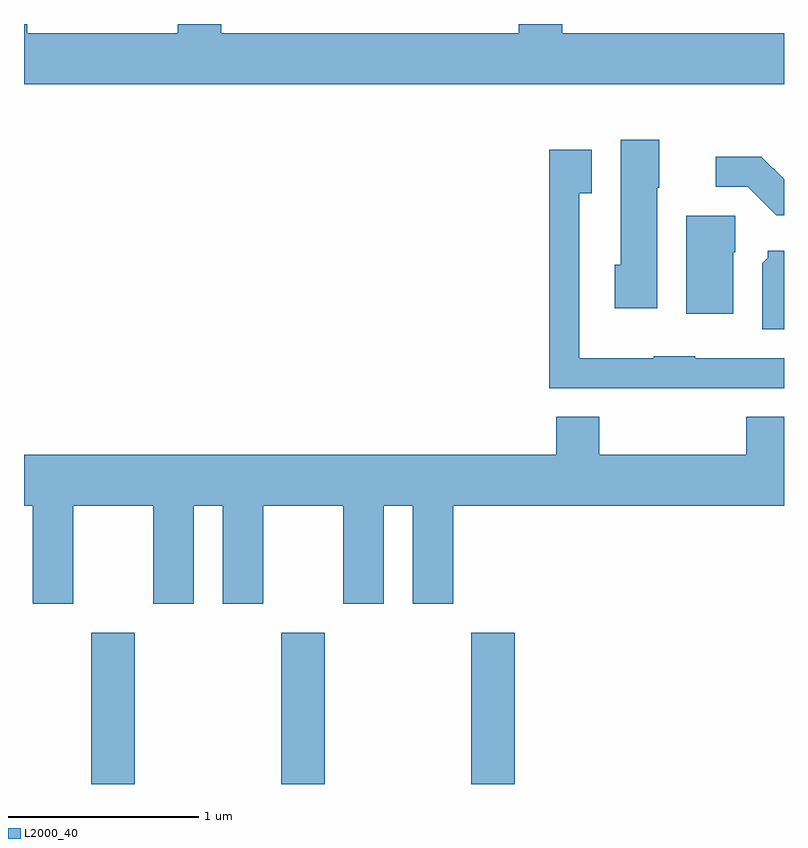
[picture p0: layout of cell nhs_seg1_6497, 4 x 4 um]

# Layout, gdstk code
import gdstk
lib = gdstk.Library(unit=1e-6, precision=1e-09)
def R(c, l, rs):  # rectangles x0, y0, x1, y1
    for r in rs: c.add(gdstk.rectangle(r[:2], r[2:], *l))
def A(c, l, x, y, w, h, nx, ny, dx, dy):  # array of equal rectangles
    R(c, l, [(x+i*dx, y+j*dy, x+i*dx+w, y+j*dy+h) for i in range(nx) for j in range(ny)])
def P(c, l, *ps):  # polygons
    for p in ps: c.add(gdstk.Polygon(p, *l))
L2000_40 = (2000, 40)

nhs_seg1_6497 = lib.new_cell('nhs_seg1_6497')
A(nhs_seg1_6497, L2000_40, 381.966, 853.712, 0.228, 0.797, 3, 1, 1, 0)
P(nhs_seg1_6497, L2000_40, [(385.611,857.664),(384.444,857.664),(384.444,857.712),(384.216,857.712),(384.216,857.664),(382.649,857.664),(382.649,857.712),(382.421,857.712),(382.421,857.664),(381.629,857.664),(381.629,857.712),(381.611,857.712),(381.611,857.396),(385.611,857.396)],
  [(384.944,856.85),(384.954,856.85),(384.954,857.104),(384.751,857.104),(384.751,856.444),(384.721,856.444),(384.721,856.216),(384.944,856.216)],
  [(385.611,855.954),(385.145,855.954),(385.145,855.964),(384.925,855.964),(384.925,855.954),(384.534,855.954),(384.534,856.821),(384.599,856.821),(384.599,857.049),(384.376,857.049),(384.376,855.796),(385.611,855.796)],
  [(385.611,856.895),(385.492,857.014),(385.253,857.014),(385.253,856.856),(385.419,856.856),(385.569,856.706),(385.611,856.706)],
  [(385.344,856.51),(385.354,856.51),(385.354,856.704),(385.096,856.704),(385.096,856.186),(385.344,856.186)],
  [(385.611,856.519),(385.526,856.519),(385.526,856.482),(385.496,856.452),(385.496,856.106),(385.611,856.106)],
  [(381.869,855.176),(382.291,855.176),(382.291,854.661),(382.504,854.661),(382.504,855.176),(382.656,855.176),(382.656,854.661),(382.869,854.661),(382.869,855.176),(383.291,855.176),(383.291,854.661),(383.504,854.661),(383.504,855.176),(383.656,855.176),(383.656,854.661),(383.869,854.661),(383.869,855.176),(385.611,855.176),(385.611,855.644),(385.411,855.644),(385.411,855.444),(384.639,855.444),(384.639,855.644),(384.411,855.644),(384.411,855.444),(381.611,855.444),(381.611,855.176),(381.656,855.176),(381.656,854.661),(381.869,854.661)])

lib.write_gds('nhs_seg1_6497.gds')
